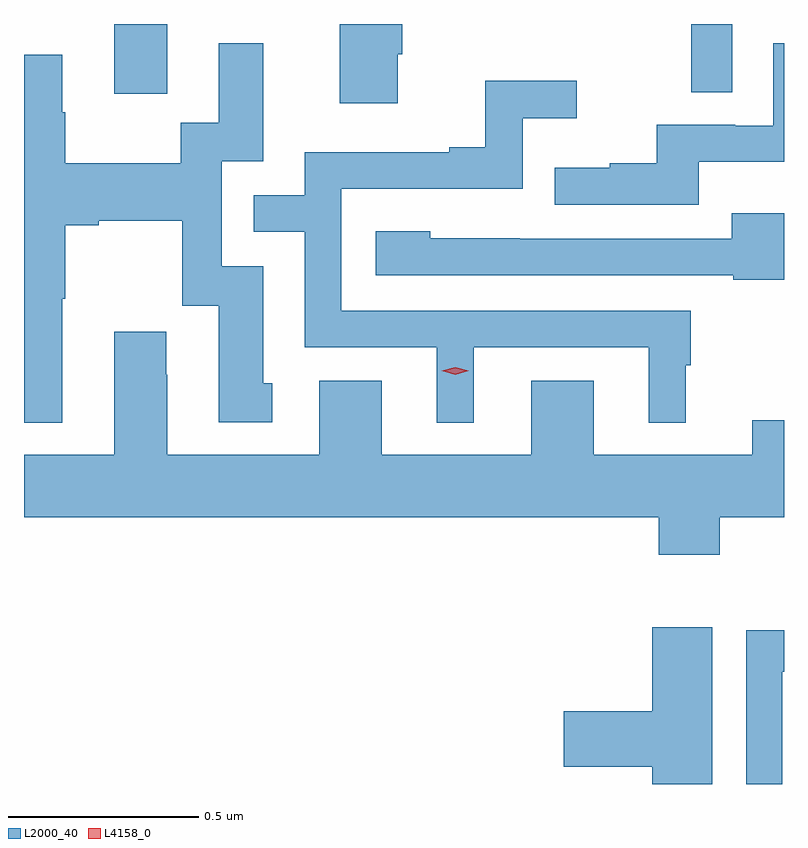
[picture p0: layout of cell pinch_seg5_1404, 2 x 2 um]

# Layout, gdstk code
import gdstk
lib = gdstk.Library(unit=1e-6, precision=1e-09)
def R(c, l, rs):  # rectangles x0, y0, x1, y1
    for r in rs: c.add(gdstk.rectangle(r[:2], r[2:], *l))
def P(c, l, *ps):  # polygons
    for p in ps: c.add(gdstk.Polygon(p, *l))
L2000_40 = (2000, 40)
L4158_0 = (4158, 0)

pinch_seg5_1404 = lib.new_cell('pinch_seg5_1404')
R(pinch_seg5_1404, L2000_40, [(345.527,877.854,345.667,878.038), (347.046,877.858,347.154,878.038)])
P(pinch_seg5_1404, L2000_40, [(346.273,877.959),(346.286,877.959),(346.286,878.038),(346.121,878.038),(346.121,877.83),(346.273,877.83)],
  [(347.065,877.676),(347.29,877.676),(347.29,877.987),(347.262,877.987),(347.262,877.77),(347.162,877.77),(347.162,877.773),(346.955,877.773),(346.955,877.672),(346.831,877.672),(346.831,877.66),(346.687,877.66),(346.687,877.563),(347.065,877.563)],
  [(345.391,877.315),(345.399,877.315),(345.399,877.508),(345.487,877.508),(345.487,877.52),(345.707,877.52),(345.707,877.296),(345.803,877.296),(345.803,876.99),(345.943,876.99),(345.943,877.092),(345.919,877.092),(345.919,877.401),(345.81,877.401),(345.81,877.677),(345.919,877.677),(345.919,877.987),(345.803,877.987),(345.803,877.778),(345.702,877.778),(345.702,877.672),(345.399,877.672),(345.399,877.806),(345.391,877.806),(345.391,877.957),(345.29,877.957),(345.29,876.989),(345.391,876.989)],
  [(346.474,877.188),(346.934,877.188),(346.934,876.989),(347.032,876.989),(347.032,877.14),(347.044,877.14),(347.044,877.284),(346.125,877.284),(346.125,877.605),(346.602,877.605),(346.602,877.79),(346.744,877.79),(346.744,877.889),(346.504,877.889),(346.504,877.714),(346.409,877.714),(346.409,877.701),(346.029,877.701),(346.029,877.587),(345.895,877.587),(345.895,877.491),(346.029,877.491),(346.029,877.188),(346.376,877.188),(346.376,876.989),(346.474,876.989)],
  [(347.29,877.54),(347.153,877.54),(347.153,877.473),(346.595,877.473),(346.595,877.474),(346.359,877.474),(346.359,877.492),(346.215,877.492),(346.215,877.377),(347.157,877.377),(347.157,877.365),(347.29,877.365)],
  [(347.121,876.74),(347.29,876.74),(347.29,876.995),(347.207,876.995),(347.207,876.904),(346.789,876.904),(346.789,877.099),(346.625,877.099),(346.625,876.904),(346.231,876.904),(346.231,877.099),(346.067,877.099),(346.067,876.904),(345.667,876.904),(345.667,877.115),(345.664,877.115),(345.664,877.228),(345.527,877.228),(345.527,876.904),(345.29,876.904),(345.29,876.74),(346.961,876.74),(346.961,876.641),(347.121,876.641)],
  [(347.101,876.451),(346.943,876.451),(346.943,876.23),(346.71,876.23),(346.71,876.083),(346.943,876.083),(346.943,876.038),(347.101,876.038)],
  [(347.286,876.333),(347.29,876.333),(347.29,876.442),(347.19,876.442),(347.19,876.038),(347.286,876.038)])
P(pinch_seg5_1404, L4158_0, [(346.425,877.115),(346.389,877.125),(346.389,877.125),(346.389,877.125),(346.425,877.135),(346.46,877.125),(346.461,877.125),(346.46,877.125)])

lib.write_gds('pinch_seg5_1404.gds')
